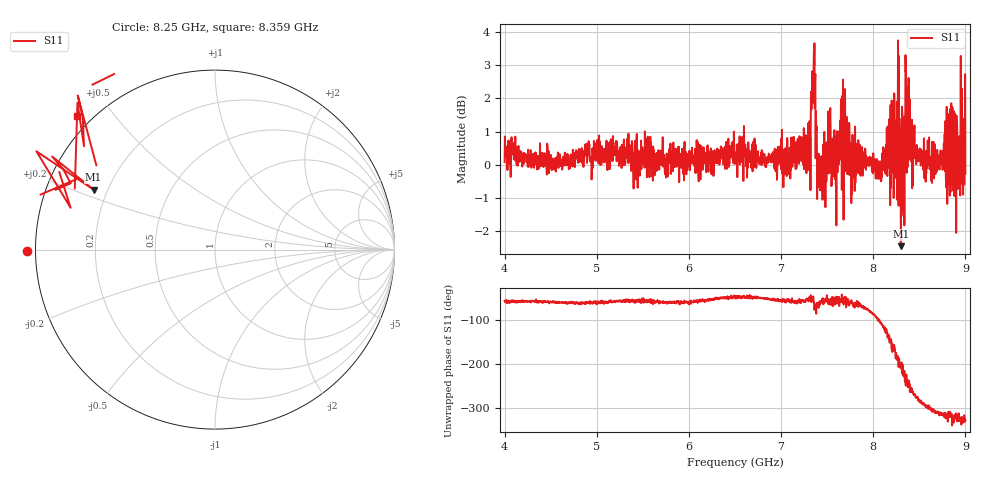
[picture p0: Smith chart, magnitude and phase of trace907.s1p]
! Created with skrf 1.8.0 (http://scikit-rf.org).
# Hz S RI R 50.0
!freq ReS11 ImS11
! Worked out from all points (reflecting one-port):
!   1601 points, 4 GHz to 9 GHz, reference 50 ohm
!   lowest |S11| = -2.4 dB at 8.3 GHz (marker M1), VSWR 7.16, Z = 7.35 + j11.4 ohm
!   phase of S11 starts at -56 deg and turns -273 deg over the sweep
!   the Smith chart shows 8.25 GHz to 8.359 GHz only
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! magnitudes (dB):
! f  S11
! 4 GHz  0.1
! 4.625 GHz  -0.1
! 5.25 GHz  0.0
! 5.875 GHz  0.0
! 6.5 GHz  0.1
! 7.125 GHz  0.0
! 7.294 GHz  0.4
! 7.347 GHz  1.9
! 7.362 GHz  3.6
! 7.4 GHz  -0.4
! 7.416 GHz  -0.6
! 7.512 GHz  1.6
! 7.606 GHz  1.0
! 7.65 GHz  2.0
! 7.75 GHz  0.3
! 8.069 GHz  0.1
! 8.181 GHz  0.8
! 8.228 GHz  2.1
! 8.253 GHz  0.5
! 8.3 GHz  -2.4
! 8.312 GHz  1.7
! 8.334 GHz  1.2
! 8.347 GHz  1.2
! 8.375 GHz  1.5
! 8.425 GHz  0.2
! 8.562 GHz  -0.3
! 8.972 GHz  0.2
! 9 GHz  -0.3
